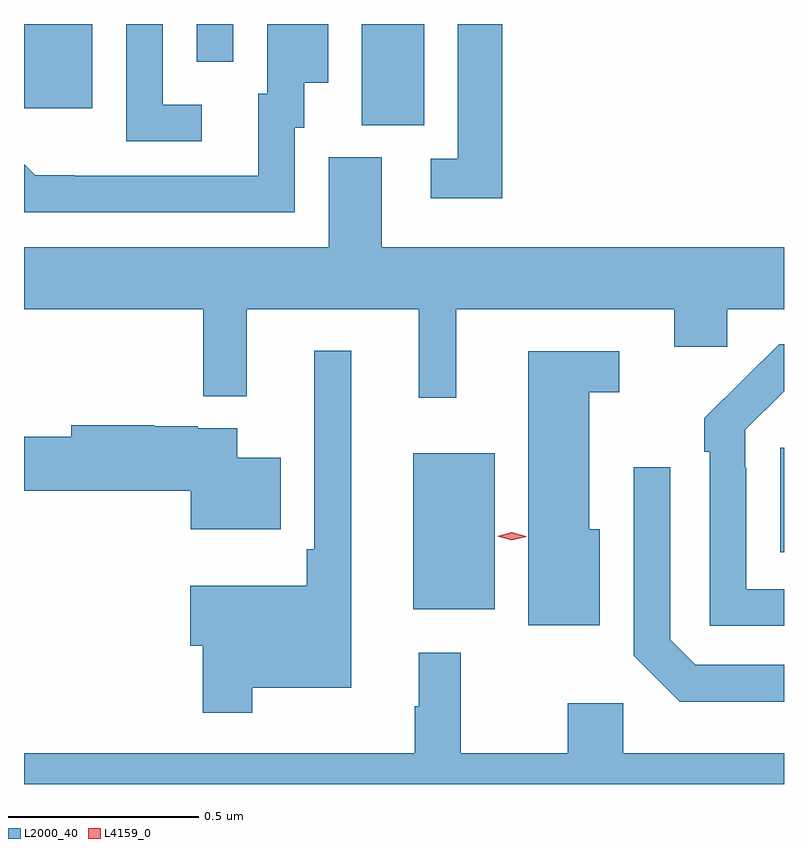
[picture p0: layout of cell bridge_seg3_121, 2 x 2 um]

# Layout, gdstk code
import gdstk
lib = gdstk.Library(unit=1e-6, precision=1e-09)
def R(c, l, rs):  # rectangles x0, y0, x1, y1
    for r in rs: c.add(gdstk.rectangle(r[:2], r[2:], *l))
def P(c, l, *ps):  # polygons
    for p in ps: c.add(gdstk.Polygon(p, *l))
L2000_40 = (2000, 40)
L4159_0 = (4159, 0)

bridge_seg3_121 = lib.new_cell('bridge_seg3_121')
R(bridge_seg3_121, L2000_40, [(322.895,717.443,323.11,717.853), (323.861,717.593,323.871,717.868), (322.76,718.717,322.924,718.983), (321.871,718.761,322.051,718.983), (322.326,718.884,322.422,718.983)])
P(bridge_seg3_121, L2000_40, [(322.584,718.71),(322.609,718.71),(322.609,718.829),(322.672,718.829),(322.672,718.983),(322.511,718.983),(322.511,718.8),(322.487,718.8),(322.487,718.584),(322.003,718.584),(322.003,718.585),(321.9,718.585),(321.871,718.614),(321.871,718.488),(322.584,718.488)],
  [(322.339,718.77),(322.236,718.77),(322.236,718.983),(322.14,718.983),(322.14,718.674),(322.339,718.674)],
  [(323.129,718.983),(323.013,718.983),(323.013,718.629),(322.941,718.629),(322.941,718.524),(323.129,718.524)],
  [(323.009,718.232),(323.582,718.232),(323.582,718.134),(323.721,718.134),(323.721,718.232),(323.871,718.232),(323.871,718.396),(322.813,718.396),(322.813,718.632),(322.673,718.632),(322.673,718.396),(321.871,718.396),(321.871,718.232),(322.343,718.232),(322.343,718.004),(322.457,718.004),(322.457,718.232),(322.91,718.232),(322.91,717.999),(323.009,717.999)],
  [(323.871,717.495),(323.772,717.495),(323.772,717.815),(323.769,717.815),(323.769,717.915),(323.871,718.017),(323.871,718.14),(323.858,718.14),(323.767,718.049),(323.766,718.05),(323.661,717.945),(323.661,717.857),(323.676,717.857),(323.676,717.399),(323.871,717.399)],
  [(322.471,717.236),(322.732,717.236),(322.732,718.123),(322.635,718.123),(322.635,717.601),(322.615,717.601),(322.615,717.505),(322.308,717.505),(322.308,717.347),(322.342,717.347),(322.342,717.171),(322.471,717.171)],
  [(323.386,717.654),(323.359,717.654),(323.359,718.014),(323.437,718.014),(323.437,718.122),(323.198,718.122),(323.198,717.401),(323.386,717.401)],
  [(322.546,717.841),(322.432,717.841),(322.432,717.919),(322.328,717.919),(322.328,717.924),(322.214,717.924),(322.214,717.927),(321.995,717.927),(321.995,717.897),(321.871,717.897),(321.871,717.755),(322.31,717.755),(322.31,717.653),(322.546,717.653)],
  [(323.871,717.297),(323.637,717.297),(323.571,717.363),(323.571,717.817),(323.475,717.817),(323.475,717.321),(323.596,717.2),(323.871,717.2)],
  [(323.871,717.064),(323.448,717.064),(323.448,717.196),(323.302,717.196),(323.302,717.064),(323.02,717.064),(323.02,717.328),(322.91,717.328),(322.91,717.188),(322.899,717.188),(322.899,717.064),(321.871,717.064),(321.871,716.983),(323.871,716.983)])
P(bridge_seg3_121, L4159_0, [(323.154,717.625),(323.116,717.635),(323.116,717.635),(323.116,717.635),(323.155,717.645),(323.193,717.635),(323.193,717.634),(323.193,717.634)])

lib.write_gds('bridge_seg3_121.gds')
